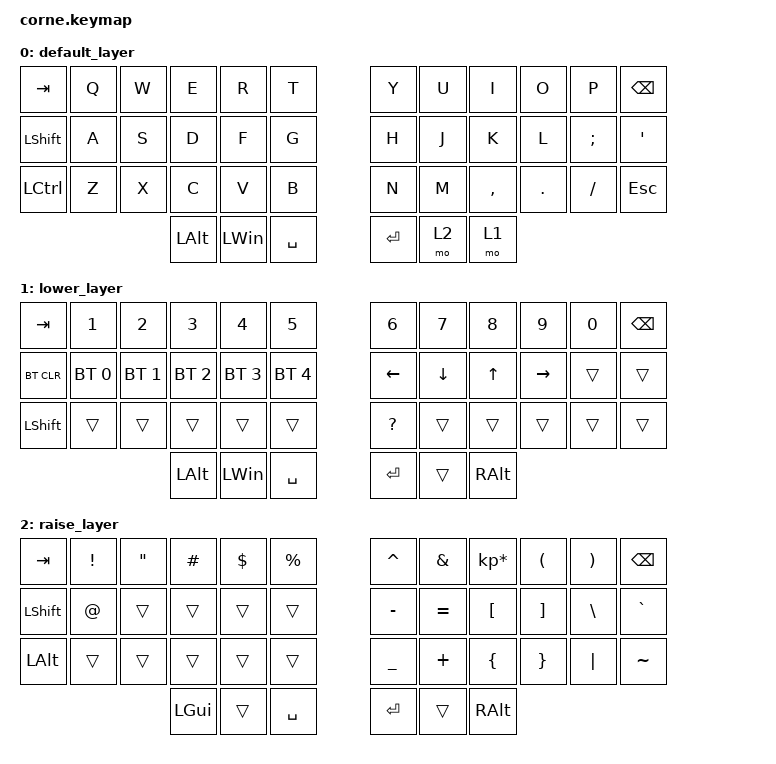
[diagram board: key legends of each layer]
/*
 * Copyright (c) 2020 The ZMK Contributors
 *
 * SPDX-License-Identifier: MIT
 */

#include <behaviors.dtsi>
#include <dt-bindings/zmk/keys.h>
#include <dt-bindings/zmk/bt.h>

/ {
    keymap {
        compatible = "zmk,keymap";

        default_layer {
            // -----------------------------------------------------------------------------------------
            // | TAB   |  Q  |  W  |  E  |  R  |  T  |   |  Y  |  U   |  I  |  O  |  P  | BKSP |
            // | LSHFT |  A  |  S  |  D  |  F  |  G  |   |  H  |  J   |  K  |  L  |  ;  |  '   |
            // | LCTRL |  Z  |  X  |  C  |  V  |  B  |   |  N  |  M   |  ,  |  .  |  /  | ESC  |
            //                    | GUI | LWR | SPC |   | ENT | RSE  | ALT |

            bindings = <
  &kp TAB  &kp Q  &kp W         &kp E         &kp R      &kp T      &kp Y  &kp U      &kp I    &kp O     &kp P          &kp BSPC
&kp LSHFT  &kp A  &kp S         &kp D         &kp F      &kp G      &kp H  &kp J      &kp K    &kp L  &kp SEMI  &kp SINGLE_QUOTE
&kp LCTRL  &kp Z  &kp X         &kp C         &kp V      &kp B      &kp N  &kp M  &kp COMMA  &kp DOT  &kp FSLH           &kp ESC
                         &kp LEFT_ALT  &kp LEFT_WIN  &kp SPACE    &kp RET  &mo 2      &mo 1
            >;
        };

        lower_layer {
            // -----------------------------------------------------------------------------------------
            // |  TAB |  1  |  2  |  3  |  4  |  5  |   |  6  |  7  |  8  |  9  |  0  | BKSP |
            // | BTCLR| BT1 | BT2 | BT3 | BT4 | BT5 |   | LFT | DWN |  UP | RGT |     |      |
            // | SHFT |     |     |     |     |     |   |     |     |     |     |     |      |
            //                    | GUI |     | SPC |   | ENT |     | ALT |

            bindings = <
   &kp TAB        &kp N1        &kp N2        &kp N3        &kp N4        &kp N5          &kp N6    &kp N7    &kp N8     &kp N9  &kp N0  &kp BSPC
&bt BT_CLR  &bt BT_SEL 0  &bt BT_SEL 1  &bt BT_SEL 2  &bt BT_SEL 3  &bt BT_SEL 4        &kp LEFT  &kp DOWN    &kp UP  &kp RIGHT  &trans    &trans
 &kp LSHFT        &trans        &trans        &trans        &trans        &trans    &kp QUESTION    &trans    &trans     &trans  &trans    &trans
                                        &kp LEFT_ALT  &kp LEFT_WIN     &kp SPACE         &kp RET    &trans  &kp RALT
            >;
        };

        raise_layer {
            // -----------------------------------------------------------------------------------------
            // |  TAB |  !  |  "  |  #  |  $  |  %  |   |  ^  |  &  |  *  |  (  |  )  | BKSP |
            // | CTRL |     |     |     |     |     |   |  -  |  =  |  [  |  ]  |  \  |  `   |
            // | SHFT |     |     |     |     |     |   |  _  |  +  |  {  |  }  | "|" |  ~   |
            //                    | GUI |     | SPC |   | ENT |     | ALT |

            bindings = <
       &kp TAB  &kp EXCL  &kp DOUBLE_QUOTES  &kp HASH  &kp DLLR  &kp PRCNT    &kp CARET   &kp AMPS  &kp KP_MULTIPLY  &kp LPAR  &kp RPAR   &kp BSPC
&kp LEFT_SHIFT    &kp AT             &trans    &trans    &trans     &trans    &kp MINUS  &kp EQUAL         &kp LBKT  &kp RBKT  &kp BSLH  &kp GRAVE
  &kp LEFT_ALT    &trans             &trans    &trans    &trans     &trans    &kp UNDER   &kp PLUS         &kp LBRC  &kp RBRC  &kp PIPE  &kp TILDE
                                             &kp LGUI    &trans  &kp SPACE      &kp RET     &trans         &kp RALT
            >;
        };
    };
};
